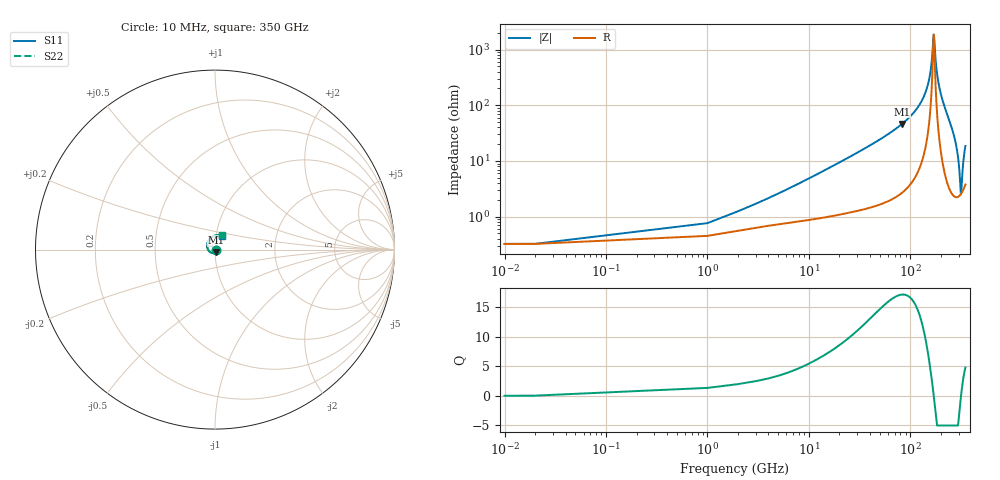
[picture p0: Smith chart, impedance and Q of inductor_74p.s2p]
#  GHZ S DB R 50.0
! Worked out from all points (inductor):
!   352 points, 10 MHz to 350 GHz, reference 50 ohm
!   read as 1/Y11, port 2 shorted: L = 77.3 pH near 5 GHz
!   highest Q = 17.2 at 83 GHz (marker M1), where L = 88.3 pH
!   self-resonance near 170.6 GHz
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0.01  -49.81 0.8  -0.03 -0.0  -0.03 -0.0  -49.81 0.8
1  -46.37 19.7  -0.04 -0.6  -0.04 -0.6  -46.37 19.7
2  -44.51 20.0  -0.05 -1.2  -0.05 -1.2  -44.51 20.1
3  -43.48 18.6  -0.05 -1.7  -0.05 -1.7  -43.48 18.6
5  -42.36 15.7  -0.06 -2.7  -0.06 -2.7  -42.36 15.8
9  -41.20 11.7  -0.07 -4.8  -0.07 -4.8  -41.20 11.7
16  -39.96 5.2  -0.09 -8.4  -0.09 -8.4  -39.96 5.1
26  -38.88 -5.1  -0.10 -13.5  -0.10 -13.5  -38.87 -5.2
42  -37.82 -21.7  -0.12 -21.7  -0.12 -21.7  -37.80 -21.7
59  -36.96 -39.3  -0.13 -30.5  -0.13 -30.5  -36.93 -39.3
83  -35.80 -64.6  -0.15 -42.9  -0.15 -42.9  -35.74 -64.5
117  -33.93 -100.5  -0.18 -60.9  -0.18 -60.9  -33.85 -100.2
147  -32.00 -130.8  -0.21 -77.0  -0.21 -77.0  -31.91 -130.2
176  -30.00 -158.1  -0.23 -93.0  -0.23 -93.0  -29.92 -157.3
205  -28.04 176.6  -0.26 -109.3  -0.26 -109.3  -27.97 177.7
234  -26.22 153.0  -0.29 -126.1  -0.29 -126.1  -26.16 154.2
264  -24.54 129.6  -0.33 -143.7  -0.33 -143.7  -24.50 131.0
292  -23.20 108.3  -0.37 -160.4  -0.37 -160.4  -23.15 109.8
307  -22.57 96.9  -0.40 -169.4  -0.40 -169.4  -22.52 98.5
321  -22.06 86.2  -0.43 -177.8  -0.43 -177.8  -22.00 87.9
335  -21.63 75.5  -0.46 173.8  -0.46 173.8  -21.56 77.1
350  -21.27 63.8  -0.50 164.9  -0.50 164.9  -21.19 65.4
